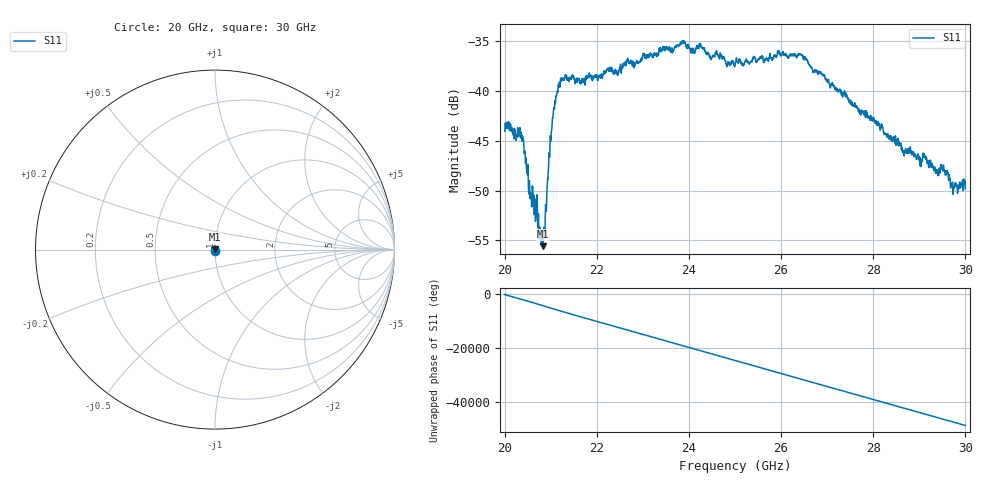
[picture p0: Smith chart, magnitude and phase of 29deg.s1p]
#  HZ  S  RI  R  50.00
! Rohde & Schwarz ZVA40 4Ports - Version 3.90 - 1145.1110k42 SN: 100403
! Date: 2023-10-03 11:47:10
! Measurement: S12
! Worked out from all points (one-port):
!   5001 points, 20 GHz to 30 GHz, reference 50 ohm
!   lowest |S11| = -55.6 dB at 20.83 GHz (marker M1), VSWR 1.00, Z = 50 + j0.166 ohm
!   |S11| at or under -10 dB: start of sweep to end of sweep
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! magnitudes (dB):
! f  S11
! 20 GHz  -44.1
! 20.09 GHz  -43.2
! 20.37 GHz  -44.7
! 20.54 GHz  -49.5
! 20.66 GHz  -50.9
! 20.79 GHz  -54.5
! 20.83 GHz  -55.6
! 20.87 GHz  -54.1
! 20.97 GHz  -46.2
! 21.04 GHz  -42.7
! 21.14 GHz  -40.2
! 21.25 GHz  -38.9
! 22.5 GHz  -37.7
! 22.64 GHz  -37.2
! 23.75 GHz  -35.4
! 24.09 GHz  -35.8
! 24.27 GHz  -35.6
! 24.49 GHz  -36.8
! 25 GHz  -37.4
! 26.25 GHz  -36.5
! 26.44 GHz  -36.4
! 27.5 GHz  -41.1
! 28.75 GHz  -45.9
! 29.12 GHz  -46.7
! 29.4 GHz  -48.2
! 29.51 GHz  -48.0
! 29.72 GHz  -49.2
! 30 GHz  -49.8
